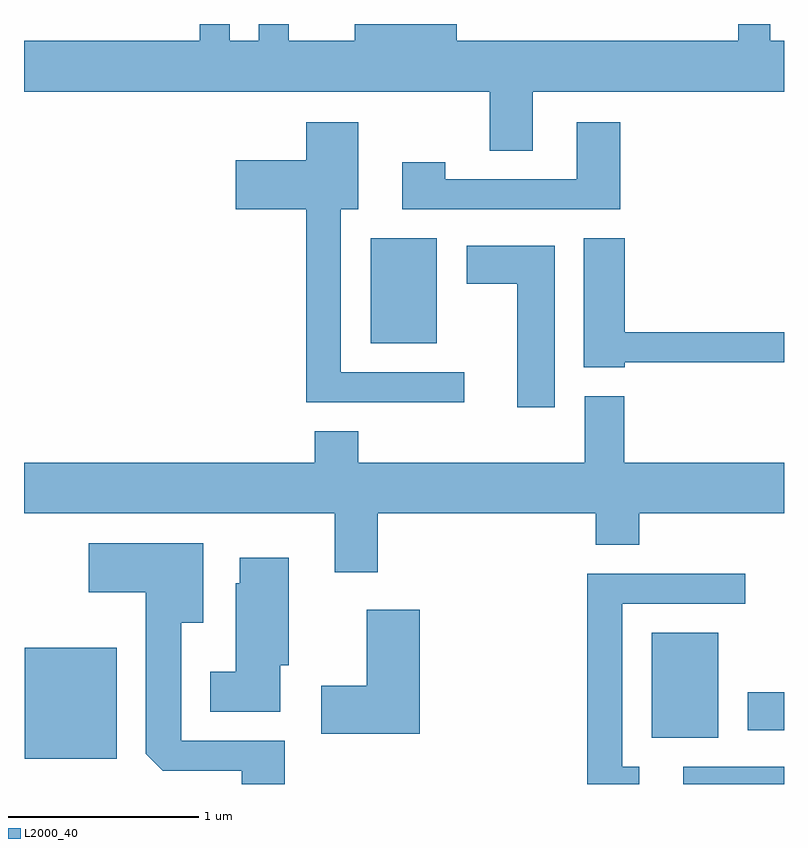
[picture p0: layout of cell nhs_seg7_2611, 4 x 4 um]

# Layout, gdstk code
import gdstk
lib = gdstk.Library(unit=1e-6, precision=1e-09)
def R(c, l, rs):  # rectangles x0, y0, x1, y1
    for r in rs: c.add(gdstk.rectangle(r[:2], r[2:], *l))
def P(c, l, *ps):  # polygons
    for p in ps: c.add(gdstk.Polygon(p, *l))
L2000_40 = (2000, 40)

nhs_seg7_2611 = lib.new_cell('nhs_seg7_2611')
R(nhs_seg7_2611, L2000_40, [(269.081,1686.252,269.611,1686.344), (265.616,1686.386,266.099,1686.969), (268.916,1686.496,269.264,1687.049), (269.421,1686.536,269.611,1686.734), (267.436,1688.571,267.784,1689.124)])
P(nhs_seg7_2611, L2000_40, [(268.289,1689.896),(269.611,1689.896),(269.611,1690.164),(269.539,1690.164),(269.539,1690.252),(269.371,1690.252),(269.371,1690.164),(267.889,1690.164),(267.889,1690.252),(267.351,1690.252),(267.351,1690.164),(267.004,1690.164),(267.004,1690.252),(266.846,1690.252),(266.846,1690.164),(266.694,1690.164),(266.694,1690.252),(266.536,1690.252),(266.536,1690.164),(265.611,1690.164),(265.611,1689.896),(268.061,1689.896),(268.061,1689.586),(268.289,1689.586)],
  [(268.749,1689.734),(268.521,1689.734),(268.521,1689.434),(267.829,1689.434),(267.829,1689.524),(267.601,1689.524),(267.601,1689.276),(268.749,1689.276)],
  [(267.928,1688.419),(267.279,1688.419),(267.279,1689.276),(267.369,1689.276),(267.369,1689.734),(267.096,1689.734),(267.096,1689.534),(266.726,1689.534),(266.726,1689.276),(267.096,1689.276),(267.096,1688.261),(267.928,1688.261)],
  [(268.774,1688.471),(269.611,1688.471),(269.611,1688.629),(268.774,1688.629),(268.774,1689.124),(268.556,1689.124),(268.556,1688.446),(268.774,1688.446)],
  [(268.404,1689.084),(267.941,1689.084),(267.941,1688.886),(268.206,1688.886),(268.206,1688.236),(268.404,1688.236)],
  [(267.474,1687.676),(268.621,1687.676),(268.621,1687.511),(268.849,1687.511),(268.849,1687.676),(269.611,1687.676),(269.611,1687.944),(268.769,1687.944),(268.769,1688.294),(268.561,1688.294),(268.561,1687.944),(267.369,1687.944),(267.369,1688.109),(267.141,1688.109),(267.141,1687.944),(265.611,1687.944),(265.611,1687.676),(267.246,1687.676),(267.246,1687.366),(267.474,1687.366)],
  [(266.984,1686.479),(266.439,1686.479),(266.439,1687.101),(266.554,1687.101),(266.554,1687.519),(265.951,1687.519),(265.951,1687.261),(266.251,1687.261),(266.251,1686.412),(266.342,1686.321),(266.756,1686.321),(266.756,1686.252),(266.984,1686.252)],
  [(266.959,1686.876),(267.004,1686.876),(267.004,1687.444),(266.746,1687.444),(266.746,1687.309),(266.726,1687.309),(266.726,1686.844),(266.591,1686.844),(266.591,1686.631),(266.959,1686.631)],
  [(268.849,1686.344),(268.759,1686.344),(268.759,1687.201),(269.408,1687.201),(269.408,1687.359),(268.576,1687.359),(268.576,1686.252),(268.849,1686.252)],
  [(267.694,1687.169),(267.416,1687.169),(267.416,1686.769),(267.176,1686.769),(267.176,1686.516),(267.694,1686.516)])

lib.write_gds('nhs_seg7_2611.gds')
